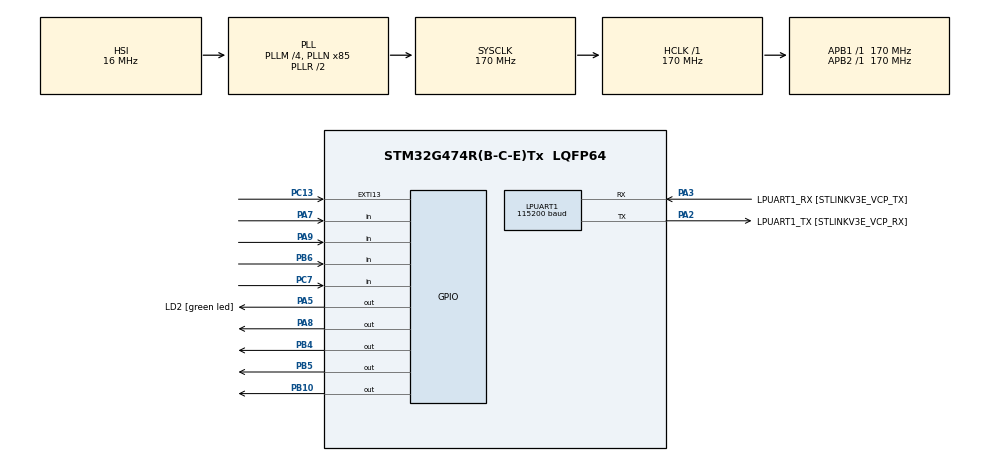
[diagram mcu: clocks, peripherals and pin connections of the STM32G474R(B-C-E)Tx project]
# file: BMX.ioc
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LPUART1.BaudRate=115200
LPUART1.WordLength=UART_WORDLENGTH_8B
Mcu.Family=STM32G4
Mcu.Name=STM32G474R(B-C-E)Tx
Mcu.Package=LQFP64
NVIC.EXTI15_10_IRQn=true\:0\:0\:false\:false\:true\:true\:true\:true
NVIC.PriorityGroup=NVIC_PRIORITYGROUP_4
PA13.GPIO_Label=T_SWDIO
PA13.Mode=Serial_Wire
PA13.Signal=SYS_JTMS-SWDIO
PA14.GPIO_Label=T_SWCLK
PA14.Mode=Serial_Wire
PA14.Signal=SYS_JTCK-SWCLK
PA2.GPIO_Label=LPUART1_TX [STLINKV3E_VCP_RX]
PA2.Mode=Asynchronous
PA2.Signal=LPUART1_TX
PA3.GPIO_Label=LPUART1_RX [STLINKV3E_VCP_TX]
PA3.Mode=Asynchronous
PA3.Signal=LPUART1_RX
PA5.GPIO_Label=LD2 [green led]
PA5.GPIO_ModeDefaultOutputPP=GPIO_MODE_OUTPUT_PP
PA5.GPIO_PuPd=GPIO_NOPULL
PA5.Signal=GPIO_Output
PA7.GPIO_PuPd=GPIO_PULLUP
PA7.Signal=GPIO_Input
PA8.GPIO_ModeDefaultOutputPP=GPIO_MODE_OUTPUT_OD
PA8.GPIO_PuPd=GPIO_NOPULL
PA8.Signal=GPIO_Output
PA9.GPIO_PuPd=GPIO_PULLUP
PA9.Signal=GPIO_Input
PB10.GPIO_ModeDefaultOutputPP=GPIO_MODE_OUTPUT_OD
PB10.GPIO_PuPd=GPIO_NOPULL
PB10.Signal=GPIO_Output
PB3.GPIO_Label=T_SWO
PB3.Signal=SYS_JTDO-SWO
PB4.GPIO_ModeDefaultOutputPP=GPIO_MODE_OUTPUT_OD
PB4.GPIO_PuPd=GPIO_NOPULL
PB4.Signal=GPIO_Output
PB5.GPIO_ModeDefaultOutputPP=GPIO_MODE_OUTPUT_OD
PB5.GPIO_PuPd=GPIO_NOPULL
PB5.Signal=GPIO_Output
PB6.GPIO_PuPd=GPIO_PULLUP
PB6.Signal=GPIO_Input
PC13.GPIO_ModeDefaultEXTI=GPIO_MODE_IT_RISING
PC13.Signal=GPXTI13
PC14-OSC32_IN.Mode=LSE-External-Oscillator
PC14-OSC32_IN.Signal=RCC_OSC32_IN
PC15-OSC32_OUT.Mode=LSE-External-Oscillator
PC15-OSC32_OUT.Signal=RCC_OSC32_OUT
PC7.GPIO_PuPd=GPIO_PULLUP
PC7.Signal=GPIO_Input
PF0-OSC_IN.Mode=HSE-External-Oscillator
PF0-OSC_IN.Signal=RCC_OSC_IN
PF1-OSC_OUT.Mode=HSE-External-Oscillator
PF1-OSC_OUT.Signal=RCC_OSC_OUT
ProjectManager.HeapSize=0x200
ProjectManager.StackSize=0x400
ProjectManager.TargetToolchain=STM32CubeIDE
RCC.ADC12Freq_Value=170000000
RCC.ADC345Freq_Value=170000000
RCC.AHBFreq_Value=170000000
RCC.APB1Freq_Value=170000000
RCC.APB1TimFreq_Value=170000000
RCC.APB2Freq_Value=170000000
RCC.APB2TimFreq_Value=170000000
RCC.CortexFreq_Value=170000000
RCC.EXTERNAL_CLOCK_VALUE=12288000
RCC.HCLKFreq_Value=170000000
RCC.HSE_VALUE=24000000
RCC.HSI48_VALUE=48000000
RCC.HSI_VALUE=16000000
RCC.PLLM=RCC_PLLM_DIV4
RCC.PLLN=85
RCC.RTCClockSelection=RCC_RTCCLKSOURCE_LSE
RCC.SYSCLKFreq_VALUE=170000000
RCC.SYSCLKSource=RCC_SYSCLKSOURCE_PLLCLK
RCC.USBFreq_Value=170000000
RCC.VCOOutputFreq_Value=340000000
VP_SYS_VS_DBSignals.Mode=DisableDeadBatterySignals
board=NUCLEO-G474RE

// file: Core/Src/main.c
/* USER CODE BEGIN Header */
/**
  ******************************************************************************
  * @file           : main.c
  * @brief          : Main program body
  ******************************************************************************
  * @attention
  *
  * Copyright (c) 2023 STMicroelectronics.
  * All rights reserved.
  *
  * This software is licensed under terms that can be found in the LICENSE file
  * in the root directory of this software component.
  * If no LICENSE file comes with this software, it is provided AS-IS.
  *
  ******************************************************************************
  */
/* USER CODE END Header */
#include "main.h"

UART_HandleTypeDef hlpuart1;

/* USER CODE BEGIN PV */
struct _ButMtx_Struct
{
	GPIO_TypeDef* Port;
	uint16_t Pin;
};

struct _ButMtx_Struct BMX_L[4] = {
	{GPIOA,GPIO_PIN_9},
	{GPIOC,GPIO_PIN_7},
	{GPIOB,GPIO_PIN_6},
	{GPIOA,GPIO_PIN_7}
};

struct _ButMtx_Struct BMX_R[4] = {
	{GPIOB,GPIO_PIN_5},
	{GPIOB,GPIO_PIN_4},
	{GPIOB,GPIO_PIN_10},
};

uint16_t ButtonState = 0;
/* USER CODE END PV */

void SystemClock_Config(void);
static void MX_GPIO_Init(void);
static void MX_LPUART1_UART_Init(void);
/* USER CODE BEGIN PFP */
void ButtonMatrixRead();
/* USER CODE END PFP */

int main(void)
{

  /* MCU Configuration--------------------------------------------------------*/

  /* Reset of all peripherals, Initializes the Flash interface and the Systick. */
  HAL_Init();

  /* Configure the system clock */
  SystemClock_Config();

  /* Initialize all configured peripherals */
  MX_GPIO_Init();
  MX_LPUART1_UART_Init();

  /* Infinite loop */
  while (1)
  {

    /* USER CODE BEGIN 3 */

	 static uint32_t BTMX_TimeStamp = 0;
	 if(HAL_GetTick() > BTMX_TimeStamp)
	 {
		 BTMX_TimeStamp = HAL_GetTick() + 25; //next scan in 25 ms
		 ButtonMatrixRead();
	 }
  /* USER CODE END 3 */
}

void SystemClock_Config(void)
{
  RCC_OscInitTypeDef RCC_OscInitStruct = {0};
  RCC_ClkInitTypeDef RCC_ClkInitStruct = {0};

  /** Configure the main internal regulator output voltage
  */
  HAL_PWREx_ControlVoltageScaling(PWR_REGULATOR_VOLTAGE_SCALE1_BOOST);

  /** Initializes the RCC Oscillators according to the specified parameters
  * in the RCC_OscInitTypeDef structure.
  */
  RCC_OscInitStruct.OscillatorType = RCC_OSCILLATORTYPE_HSI;
  RCC_OscInitStruct.HSIState = RCC_HSI_ON;
  RCC_OscInitStruct.HSICalibrationValue = RCC_HSICALIBRATION_DEFAULT;
  RCC_OscInitStruct.PLL.PLLState = RCC_PLL_ON;
  RCC_OscInitStruct.PLL.PLLSource = RCC_PLLSOURCE_HSI;
  RCC_OscInitStruct.PLL.PLLM = RCC_PLLM_DIV4;
  RCC_OscInitStruct.PLL.PLLN = 85;
  RCC_OscInitStruct.PLL.PLLP = RCC_PLLP_DIV2;
  RCC_OscInitStruct.PLL.PLLQ = RCC_PLLQ_DIV2;
  RCC_OscInitStruct.PLL.PLLR = RCC_PLLR_DIV2;
  if (HAL_RCC_OscConfig(&RCC_OscInitStruct) != HAL_OK)
  {
    Error_Handler();
  }

  /** Initializes the CPU, AHB and APB buses clocks
  */
  RCC_ClkInitStruct.ClockType = RCC_CLOCKTYPE_HCLK|RCC_CLOCKTYPE_SYSCLK
                              |RCC_CLOCKTYPE_PCLK1|RCC_CLOCKTYPE_PCLK2;
  RCC_ClkInitStruct.SYSCLKSource = RCC_SYSCLKSOURCE_PLLCLK;
  RCC_ClkInitStruct.AHBCLKDivider = RCC_SYSCLK_DIV1;
  RCC_ClkInitStruct.APB1CLKDivider = RCC_HCLK_DIV1;
  RCC_ClkInitStruct.APB2CLKDivider = RCC_HCLK_DIV1;

  if (HAL_RCC_ClockConfig(&RCC_ClkInitStruct, FLASH_LATENCY_4) != HAL_OK)
  {
    Error_Handler();
  }
}

static void MX_LPUART1_UART_Init(void)
{

  hlpuart1.Instance = LPUART1;
  hlpuart1.Init.BaudRate = 115200;
  hlpuart1.Init.WordLength = UART_WORDLENGTH_8B;
  hlpuart1.Init.StopBits = UART_STOPBITS_1;
  hlpuart1.Init.Parity = UART_PARITY_NONE;
  hlpuart1.Init.Mode = UART_MODE_TX_RX;
  hlpuart1.Init.HwFlowCtl = UART_HWCONTROL_NONE;
  hlpuart1.Init.OneBitSampling = UART_ONE_BIT_SAMPLE_DISABLE;
  hlpuart1.Init.ClockPrescaler = UART_PRESCALER_DIV1;
  hlpuart1.AdvancedInit.AdvFeatureInit = UART_ADVFEATURE_NO_INIT;
  if (HAL_UART_Init(&hlpuart1) != HAL_OK)
  {
    Error_Handler();
  }
  if (HAL_UARTEx_SetTxFifoThreshold(&hlpuart1, UART_TXFIFO_THRESHOLD_1_8) != HAL_OK)
  {
    Error_Handler();
  }
  if (HAL_UARTEx_SetRxFifoThreshold(&hlpuart1, UART_RXFIFO_THRESHOLD_1_8) != HAL_OK)
  {
    Error_Handler();
  }
  if (HAL_UARTEx_DisableFifoMode(&hlpuart1) != HAL_OK)
  {
    Error_Handler();
  }

}

static void MX_GPIO_Init(void)
{
  GPIO_InitTypeDef GPIO_InitStruct = {0};

  /* GPIO Ports Clock Enable */
  __HAL_RCC_GPIOC_CLK_ENABLE();
  __HAL_RCC_GPIOF_CLK_ENABLE();
  __HAL_RCC_GPIOA_CLK_ENABLE();
  __HAL_RCC_GPIOB_CLK_ENABLE();

  /*Configure GPIO pin Output Level */
  HAL_GPIO_WritePin(GPIOA, LD2_Pin|GPIO_PIN_8, GPIO_PIN_RESET);

  /*Configure GPIO pin Output Level */
  HAL_GPIO_WritePin(GPIOB, GPIO_PIN_10|GPIO_PIN_4|GPIO_PIN_5, GPIO_PIN_RESET);

  /*Configure GPIO pin : PC13 */
  GPIO_InitStruct.Pin = GPIO_PIN_13;
  GPIO_InitStruct.Mode = GPIO_MODE_IT_RISING;
  GPIO_InitStruct.Pull = GPIO_NOPULL;
  HAL_GPIO_Init(GPIOC, &GPIO_InitStruct);

  /*Configure GPIO pin : LD2_Pin */
  GPIO_InitStruct.Pin = LD2_Pin;
  GPIO_InitStruct.Mode = GPIO_MODE_OUTPUT_PP;
  GPIO_InitStruct.Pull = GPIO_NOPULL;
  GPIO_InitStruct.Speed = GPIO_SPEED_FREQ_LOW;
  HAL_GPIO_Init(LD2_GPIO_Port, &GPIO_InitStruct);

  /*Configure GPIO pins : PA7 PA9 */
  GPIO_InitStruct.Pin = GPIO_PIN_7|GPIO_PIN_9;
  GPIO_InitStruct.Mode = GPIO_MODE_INPUT;
  GPIO_InitStruct.Pull = GPIO_PULLUP;
  HAL_GPIO_Init(GPIOA, &GPIO_InitStruct);

  /*Configure GPIO pins : PB10 PB4 PB5 */
  GPIO_InitStruct.Pin = GPIO_PIN_10|GPIO_PIN_4|GPIO_PIN_5;
  GPIO_InitStruct.Mode = GPIO_MODE_OUTPUT_OD;
  GPIO_InitStruct.Pull = GPIO_NOPULL;
  GPIO_InitStruct.Speed = GPIO_SPEED_FREQ_LOW;
  HAL_GPIO_Init(GPIOB, &GPIO_InitStruct);

  /*Configure GPIO pin : PC7 */
  GPIO_InitStruct.Pin = GPIO_PIN_7;
  GPIO_InitStruct.Mode = GPIO_MODE_INPUT;
  GPIO_InitStruct.Pull = GPIO_PULLUP;
  HAL_GPIO_Init(GPIOC, &GPIO_InitStruct);

  /*Configure GPIO pin : PA8 */
  GPIO_InitStruct.Pin = GPIO_PIN_8;
  GPIO_InitStruct.Mode = GPIO_MODE_OUTPUT_OD;
  GPIO_InitStruct.Pull = GPIO_NOPULL;
  GPIO_InitStruct.Speed = GPIO_SPEED_FREQ_LOW;
  HAL_GPIO_Init(GPIOA, &GPIO_InitStruct);

  /*Configure GPIO pin : PB6 */
  GPIO_InitStruct.Pin = GPIO_PIN_6;
  GPIO_InitStruct.Mode = GPIO_MODE_INPUT;
  GPIO_InitStruct.Pull = GPIO_PULLUP;
  HAL_GPIO_Init(GPIOB, &GPIO_InitStruct);

  /* EXTI interrupt init*/
  HAL_NVIC_SetPriority(EXTI15_10_IRQn, 0, 0);
  HAL_NVIC_EnableIRQ(EXTI15_10_IRQn);

}

/* USER CODE BEGIN 4 */
void ButtonMatrixRead(){
	static uint8_t X=0;
	for(int i=0; i<4; i++)
	{
		if(HAL_GPIO_ReadPin(BMX_L[i].Port, BMX_L[i].Pin) == GPIO_PIN_RESET)
		{ //ปุ่มถู�?�?ด
			ButtonState |= 1 << (i + (X * 4));
		}
		else
		{
			ButtonState &= ~(1 << (i + (X * 4)));
		}
	}
	//set currentL to Hi-z (open drain)
	HAL_GPIO_WritePin(BMX_R[X].Port, BMX_R[X].Pin, GPIO_PIN_SET);
	//set nextL to low
	uint8_t nextX = (X + 1) % 4;
	HAL_GPIO_WritePin(BMX_R[nextX].Port, BMX_R[nextX].Pin, GPIO_PIN_RESET);
	X = nextX;
}

/* USER CODE END 4 */

void Error_Handler(void)
{
  __disable_irq();
  while (1)
  {
  }
}
